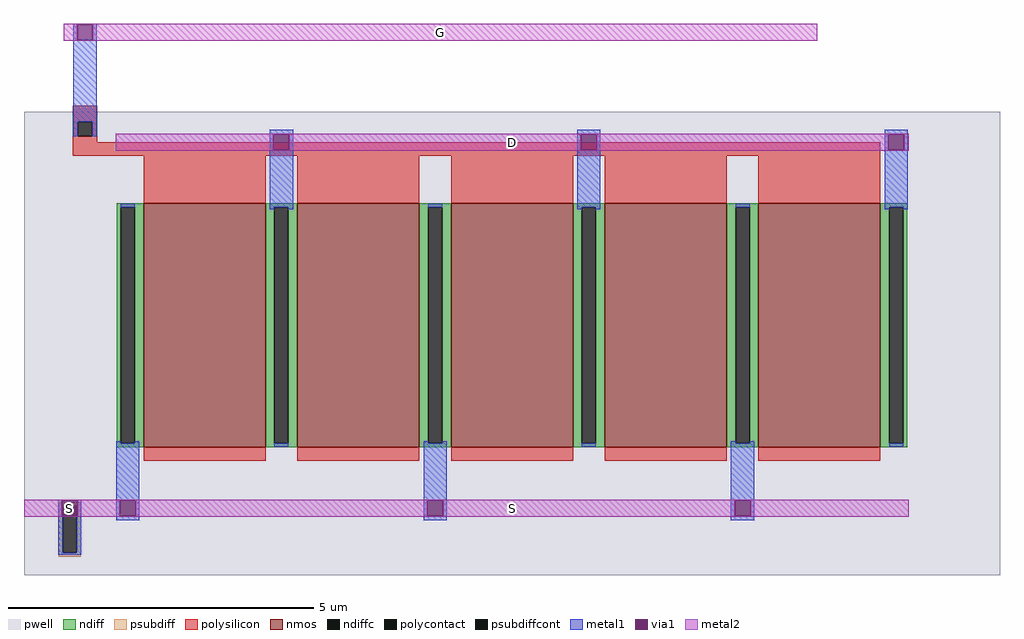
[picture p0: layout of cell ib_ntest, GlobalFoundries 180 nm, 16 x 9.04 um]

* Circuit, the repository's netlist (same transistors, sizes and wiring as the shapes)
.subckt ib_ntest S D G
XMT D G S S nfet_03v3 L=2u W=4u nf=1 m=5
.ends ib_ntest

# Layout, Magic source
magic
tech gf180mcuD
magscale 1 10
<< pwell >>
rect -1600 -820 1600 700
<< nmos >>
rect -1208 -400 -808 400
rect -704 -400 -304 400
rect -200 -400 200 400
rect 304 -400 704 400
rect 808 -400 1208 400
<< ndiff >>
rect -1296 387 -1208 400
rect -1296 -387 -1283 387
rect -1237 -387 -1208 387
rect -1296 -400 -1208 -387
rect -808 387 -704 400
rect -808 -387 -779 387
rect -733 -387 -704 387
rect -808 -400 -704 -387
rect -304 387 -200 400
rect -304 -387 -275 387
rect -229 -387 -200 387
rect -304 -400 -200 -387
rect 200 387 304 400
rect 200 -387 229 387
rect 275 -387 304 387
rect 200 -400 304 -387
rect 704 387 808 400
rect 704 -387 733 387
rect 779 -387 808 387
rect 704 -400 808 -387
rect 1208 387 1296 400
rect 1208 -387 1237 387
rect 1283 -387 1296 387
rect 1208 -400 1296 -387
<< ndiffc >>
rect -1283 -387 -1237 387
rect -779 -387 -733 387
rect -275 -387 -229 387
rect 229 -387 275 387
rect 733 -387 779 387
rect 1237 -387 1283 387
<< psubdiff >>
rect -1486 -593 -1414 -580
rect -1486 -747 -1473 -593
rect -1427 -747 -1414 -593
rect -1486 -760 -1414 -747
<< psubdiffcont >>
rect -1473 -747 -1427 -593
<< polysilicon >>
rect -1440 666 -1360 720
rect -1440 620 -1423 666
rect -1377 620 -1360 666
rect -1440 600 -1360 620
rect -1440 556 1208 600
rect -1208 400 -808 556
rect -704 400 -304 556
rect -200 400 200 556
rect 304 400 704 556
rect 808 400 1208 556
rect -1208 -444 -808 -400
rect -704 -444 -304 -400
rect -200 -444 200 -400
rect 304 -444 704 -400
rect 808 -444 1208 -400
<< polycontact >>
rect -1423 620 -1377 666
<< metal1 >>
rect -1438 986 -1362 988
rect -1438 934 -1426 986
rect -1374 934 -1362 986
rect -1438 666 -1362 934
rect -1438 620 -1423 666
rect -1377 620 -1362 666
rect -794 626 -718 640
rect -794 574 -782 626
rect -730 574 -718 626
rect -1283 387 -1237 398
rect -1298 -387 -1283 -380
rect -794 387 -718 574
rect 214 626 290 640
rect 214 574 226 626
rect 278 574 290 626
rect -794 380 -779 387
rect -1237 -387 -1222 -380
rect -1488 -574 -1412 -572
rect -1488 -626 -1476 -574
rect -1424 -626 -1412 -574
rect -1488 -747 -1473 -626
rect -1427 -747 -1412 -626
rect -1298 -574 -1222 -387
rect -733 380 -718 387
rect -275 387 -229 398
rect -779 -398 -733 -387
rect -290 -387 -275 -380
rect 214 387 290 574
rect 1222 626 1298 640
rect 1222 574 1234 626
rect 1286 574 1298 626
rect 214 380 229 387
rect -229 -387 -214 -380
rect -1298 -626 -1286 -574
rect -1234 -626 -1222 -574
rect -1298 -640 -1222 -626
rect -290 -574 -214 -387
rect 275 380 290 387
rect 733 387 779 398
rect 229 -398 275 -387
rect 718 -387 733 -380
rect 1222 387 1298 574
rect 1222 380 1237 387
rect 779 -387 794 -380
rect -290 -626 -278 -574
rect -226 -626 -214 -574
rect -290 -640 -214 -626
rect 718 -574 794 -387
rect 1283 380 1298 387
rect 1237 -398 1283 -387
rect 718 -626 730 -574
rect 782 -626 794 -574
rect 718 -640 794 -626
rect -1488 -753 -1412 -747
<< via1 >>
rect -1426 934 -1374 986
rect -782 574 -730 626
rect 226 574 278 626
rect -1476 -593 -1424 -574
rect -1476 -626 -1473 -593
rect -1473 -626 -1427 -593
rect -1427 -626 -1424 -593
rect 1234 574 1286 626
rect -1286 -626 -1234 -574
rect -278 -626 -226 -574
rect 730 -626 782 -574
<< metal2 >>
rect -1470 986 1000 988
rect -1470 934 -1426 986
rect -1374 934 1000 986
rect -1470 932 1000 934
rect -1300 626 1300 628
rect -1300 574 -782 626
rect -730 574 226 626
rect 278 574 1234 626
rect 1286 574 1300 626
rect -1300 572 1300 574
rect -1600 -574 1300 -572
rect -1600 -626 -1476 -574
rect -1424 -626 -1286 -574
rect -1234 -626 -278 -574
rect -226 -626 730 -574
rect 782 -626 1300 -574
rect -1600 -628 1300 -626
<< labels >>
rlabel metal2 -1300 -628 1300 -572 1 S
port 1 n
rlabel metal2 -1300 572 1300 628 1 D
port 2 n
rlabel metal2 -1470 932 1000 988 1 G
port 3 n
rlabel pwell -1600 -628 -1300 -572 1 S
<< end >>
